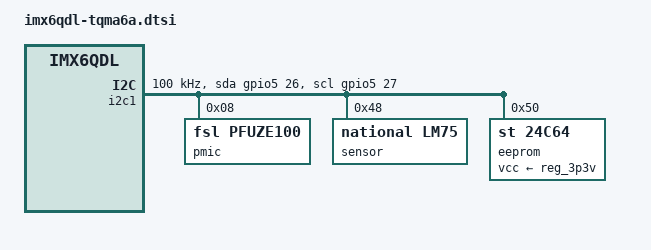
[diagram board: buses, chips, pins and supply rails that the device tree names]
// SPDX-License-Identifier: GPL-2.0-or-later
/*
 * Copyright 2013 Sascha Hauer, Pengutronix
 * Copyright 2013-2017 Markus Niebel <Markus.Niebel@tq-group.com>
 */

#include <dt-bindings/gpio/gpio.h>

&fec {
	/delete-property/ interrupts;
	interrupts-extended = <&gpio1 6 IRQ_TYPE_LEVEL_HIGH>,
			      <&intc 0 119 IRQ_TYPE_LEVEL_HIGH>;
	fsl,err006687-workaround-present;
};

&i2c1 {
	pinctrl-names = "default", "gpio";
	pinctrl-0 = <&pinctrl_i2c1>;
	pinctrl-1 = <&pinctrl_i2c1_recovery>;
	scl-gpios = <&gpio5 27 (GPIO_ACTIVE_HIGH | GPIO_OPEN_DRAIN)>;
	sda-gpios = <&gpio5 26 (GPIO_ACTIVE_HIGH | GPIO_OPEN_DRAIN)>;
	clock-frequency = <100000>;
	status = "okay";

	pmic: pmic@8 {
		compatible = "fsl,pfuze100";
		reg = <0x08>;
	};

	sensor@48 {
		compatible = "national,lm75";
		reg = <0x48>;
	};

	eeprom@50 {
		compatible = "st,24c64", "atmel,24c64";
		reg = <0x50>;
		pagesize = <32>;
		vcc-supply = <&reg_3p3v>;
	};
};

&iomuxc {
	/*
	 * This pinmuxing is required for the ERR006687 workaround. Board
	 * DTS files that enable the FEC controller with
	 * fsl,err006687-workaround-present must include this group.
	 */
	pinctrl_enet_fix: enetfixgrp {
		fsl,pins = <
			/* ENET ping patch */
			MX6QDL_PAD_GPIO_6__ENET_IRQ 0x000b1
		>;
	};
};
